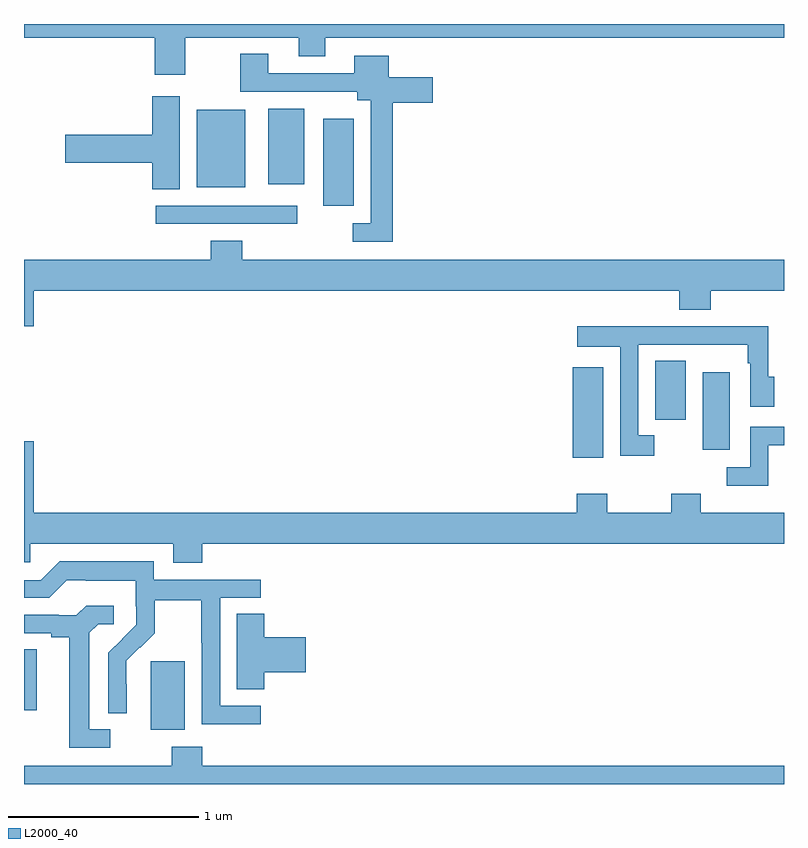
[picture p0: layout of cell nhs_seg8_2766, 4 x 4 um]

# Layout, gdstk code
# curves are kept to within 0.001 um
import gdstk
lib = gdstk.Library(unit=1e-6, precision=1e-09)
def R(c, l, rs):  # rectangles x0, y0, x1, y1
    for r in rs: c.add(gdstk.rectangle(r[:2], r[2:], *l))
def P(c, l, *ps):  # polygons
    for p in ps: c.add(gdstk.Polygon(p, *l))
L2000_40 = (2000, 40)

nhs_seg8_2766 = lib.new_cell('nhs_seg8_2766')
R(nhs_seg8_2766, L2000_40, [(285.668,1118.186,285.847,1118.547), (285,1118.289,285.067,1118.609), (287.888,1119.618,288.049,1120.093), (288.572,1119.66,288.715,1120.066), (288.323,1119.816,288.484,1120.127), (285.693,1120.848,286.438,1120.944), (286.574,1120.943,286.735,1121.401), (285.908,1121.042,286.165,1121.449), (286.286,1121.057,286.474,1121.455)])
P(nhs_seg8_2766, L2000_40, [(285.849,1121.828),(286.445,1121.828),(286.445,1121.729),(286.585,1121.729),(286.585,1121.828),(289,1121.828),(289,1121.9),(285,1121.9),(285,1121.828),(285.689,1121.828),(285.689,1121.634),(285.849,1121.634)],
  [(286.94,1121.486),(287.152,1121.486),(287.152,1121.62),(286.921,1121.62),(286.921,1121.734),(286.739,1121.734),(286.739,1121.64),(286.285,1121.64),(286.285,1121.743),(286.138,1121.743),(286.138,1121.544),(286.754,1121.544),(286.754,1121.498),(286.824,1121.498),(286.824,1120.852),(286.731,1120.852),(286.731,1120.755),(286.94,1120.755)],
  [(285.82,1121.521),(285.674,1121.521),(285.674,1121.318),(285.216,1121.318),(285.216,1121.171),(285.674,1121.171),(285.674,1121.029),(285.82,1121.029)],
  [(285.052,1120.496),(288.449,1120.496),(288.449,1120.397),(288.614,1120.397),(288.614,1120.496),(289,1120.496),(289,1120.66),(286.148,1120.66),(286.148,1120.759),(285.983,1120.759),(285.983,1120.66),(285,1120.66),(285,1120.308),(285.052,1120.308)],
  [(288.316,1119.735),(288.234,1119.735),(288.234,1120.212),(288.58,1120.212),(288.58,1120.211),(288.81,1120.211),(288.81,1120.115),(288.822,1120.115),(288.822,1119.885),(288.949,1119.885),(288.949,1120.044),(288.918,1120.044),(288.918,1120.31),(288.697,1120.31),(288.697,1120.308),(288.331,1120.308),(288.331,1120.31),(287.913,1120.31),(287.913,1120.202),(288.138,1120.202),(288.138,1119.627),(288.316,1119.627)],
  [(288.918,1119.684),(289,1119.684),(289,1119.78),(288.822,1119.78),(288.822,1119.567),(288.699,1119.567),(288.699,1119.47),(288.918,1119.47)],
  [(285.938,1119.164),(289,1119.164),(289,1119.328),(288.561,1119.328),(288.561,1119.427),(288.406,1119.427),(288.406,1119.328),(288.069,1119.328),(288.069,1119.427),(287.909,1119.427),(287.909,1119.328),(285.052,1119.328),(285.052,1119.703),(285,1119.703),(285,1119.066),(285.033,1119.066),(285.033,1119.164),(285.785,1119.164),(285.785,1119.065),(285.938,1119.065)],
  [(286.246,1118.313),(286.032,1118.313),(286.032,1118.88),(286.246,1118.88),(286.246,1118.976),(285.684,1118.976),(285.684,1119.073),(285.187,1119.073),(285.087,1118.973),(285,1118.973),(285,1118.88),(285.132,1118.88),(285.225,1118.973),(285.325,1118.973),(285.325,1118.969),(285.588,1118.969),(285.588,1118.835),(285.59,1118.835),(285.59,1118.738),(285.444,1118.59),(285.444,1118.272),(285.54,1118.272),(285.539,1118.549),(285.609,1118.619),(285.612,1118.616),(285.689,1118.693),(285.689,1118.868),(285.934,1118.868),(285.934,1118.644),(285.936,1118.644),(285.936,1118.215),(286.246,1118.215)],
  [(285.454,1118.187),(285.343,1118.187),(285.343,1118.695),(285.39,1118.742),(285.472,1118.742),(285.472,1118.839),(285.328,1118.839),(285.276,1118.787),(285.182,1118.787),(285.182,1118.79),(285,1118.79),(285,1118.694),(285.143,1118.694),(285.143,1118.672),(285.239,1118.672),(285.239,1118.091),(285.454,1118.091)],
  [(286.265,1118.489),(286.483,1118.489),(286.483,1118.672),(286.265,1118.672),(286.265,1118.795),(286.121,1118.795),(286.121,1118.398),(286.265,1118.398)],
  [(289,1117.996),(285.938,1117.996),(285.938,1118.095),(285.778,1118.095),(285.778,1117.996),(285,1117.996),(285,1117.9),(289,1117.9)])

lib.write_gds('nhs_seg8_2766.gds')
